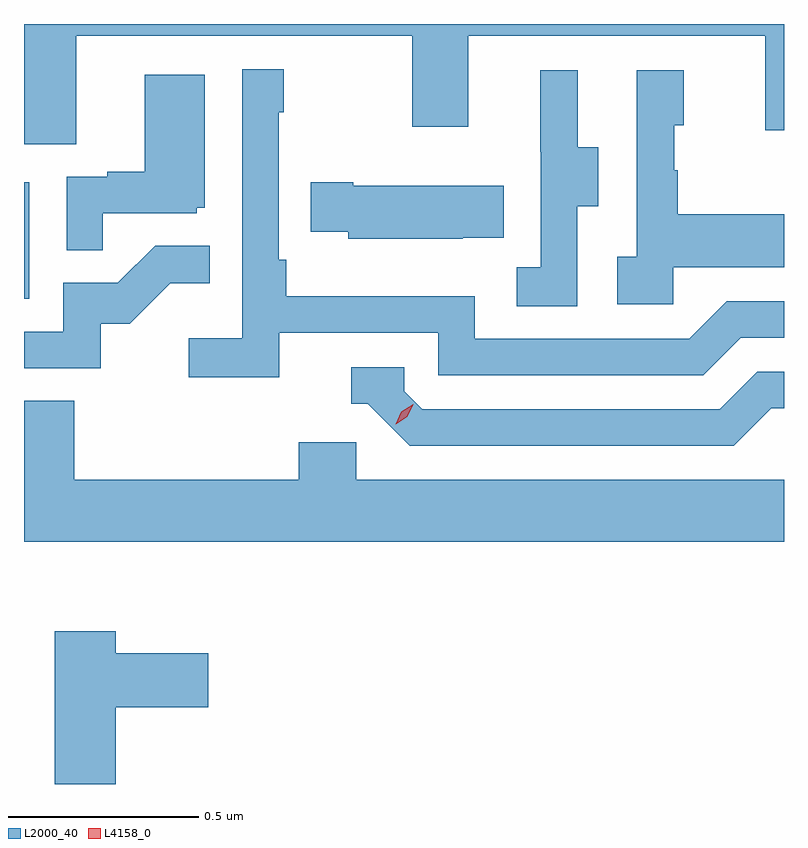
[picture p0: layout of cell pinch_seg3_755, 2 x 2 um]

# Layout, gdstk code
import gdstk
lib = gdstk.Library(unit=1e-6, precision=1e-09)
def R(c, l, rs):  # rectangles x0, y0, x1, y1
    for r in rs: c.add(gdstk.rectangle(r[:2], r[2:], *l))
def P(c, l, *ps):  # polygons
    for p in ps: c.add(gdstk.Polygon(p, *l))
L2000_40 = (2000, 40)
L4158_0 = (4158, 0)

pinch_seg3_755 = lib.new_cell('pinch_seg3_755')
R(pinch_seg3_755, L2000_40, [(886.526,736.188,886.54,736.495)])
P(pinch_seg3_755, L2000_40, [(886.663,736.88),(887.548,736.88),(887.548,736.641),(887.695,736.641),(887.695,736.88),(888.476,736.88),(888.476,736.632),(888.526,736.632),(888.526,736.911),(886.526,736.911),(886.526,736.594),(886.663,736.594)],
  [(887.198,736.098),(887.616,736.098),(887.616,735.987),(888.313,735.987),(888.412,736.086),(888.526,736.086),(888.526,736.182),(888.375,736.182),(888.276,736.083),(887.712,736.083),(887.712,736.195),(887.216,736.195),(887.216,736.291),(887.196,736.291),(887.196,736.679),(887.209,736.679),(887.209,736.792),(887.1,736.792),(887.1,736.084),(886.959,736.084),(886.959,735.982),(887.198,735.982)],
  [(887.982,736.432),(888.037,736.432),(888.037,736.587),(887.983,736.587),(887.983,736.789),(887.885,736.789),(887.885,736.575),(887.886,736.575),(887.886,736.271),(887.823,736.271),(887.823,736.168),(887.982,736.168)],
  [(888.234,736.271),(888.526,736.271),(888.526,736.411),(888.247,736.411),(888.247,736.526),(888.237,736.526),(888.237,736.644),(888.262,736.644),(888.262,736.789),(888.138,736.789),(888.138,736.298),(888.087,736.298),(888.087,736.173),(888.234,736.173)],
  [(886.733,736.413),(886.98,736.413),(886.98,736.428),(887.002,736.428),(887.002,736.777),(886.844,736.777),(886.844,736.522),(886.745,736.522),(886.745,736.509),(886.638,736.509),(886.638,736.315),(886.733,736.315)],
  [(887.681,736.349),(887.789,736.349),(887.789,736.486),(887.392,736.486),(887.392,736.494),(887.281,736.494),(887.281,736.364),(887.379,736.364),(887.379,736.346),(887.681,736.346)],
  [(886.728,736.122),(886.804,736.122),(886.911,736.229),(887.015,736.229),(887.015,736.328),(886.871,736.328),(886.773,736.23),(886.629,736.23),(886.629,736.101),(886.526,736.101),(886.526,736.005),(886.728,736.005)],
  [(888.493,735.9),(888.526,735.9),(888.526,735.996),(888.456,735.996),(888.357,735.897),(887.574,735.897),(887.526,735.945),(887.526,736.008),(887.387,736.008),(887.387,735.912),(887.43,735.912),(887.541,735.801),(888.394,735.801)],
  [(888.526,735.712),(887.4,735.712),(887.4,735.81),(887.249,735.81),(887.249,735.712),(886.658,735.712),(886.658,735.92),(886.526,735.92),(886.526,735.548),(888.526,735.548)],
  [(886.768,735.113),(887.011,735.113),(887.011,735.255),(886.768,735.255),(886.768,735.313),(886.607,735.313),(886.607,734.911),(886.768,734.911)])
P(pinch_seg3_755, L4158_0, [(887.504,735.858),(887.504,735.858),(887.519,735.891),(887.55,735.911),(887.55,735.911),(887.55,735.911),(887.534,735.878),(887.504,735.858)])

lib.write_gds('pinch_seg3_755.gds')
